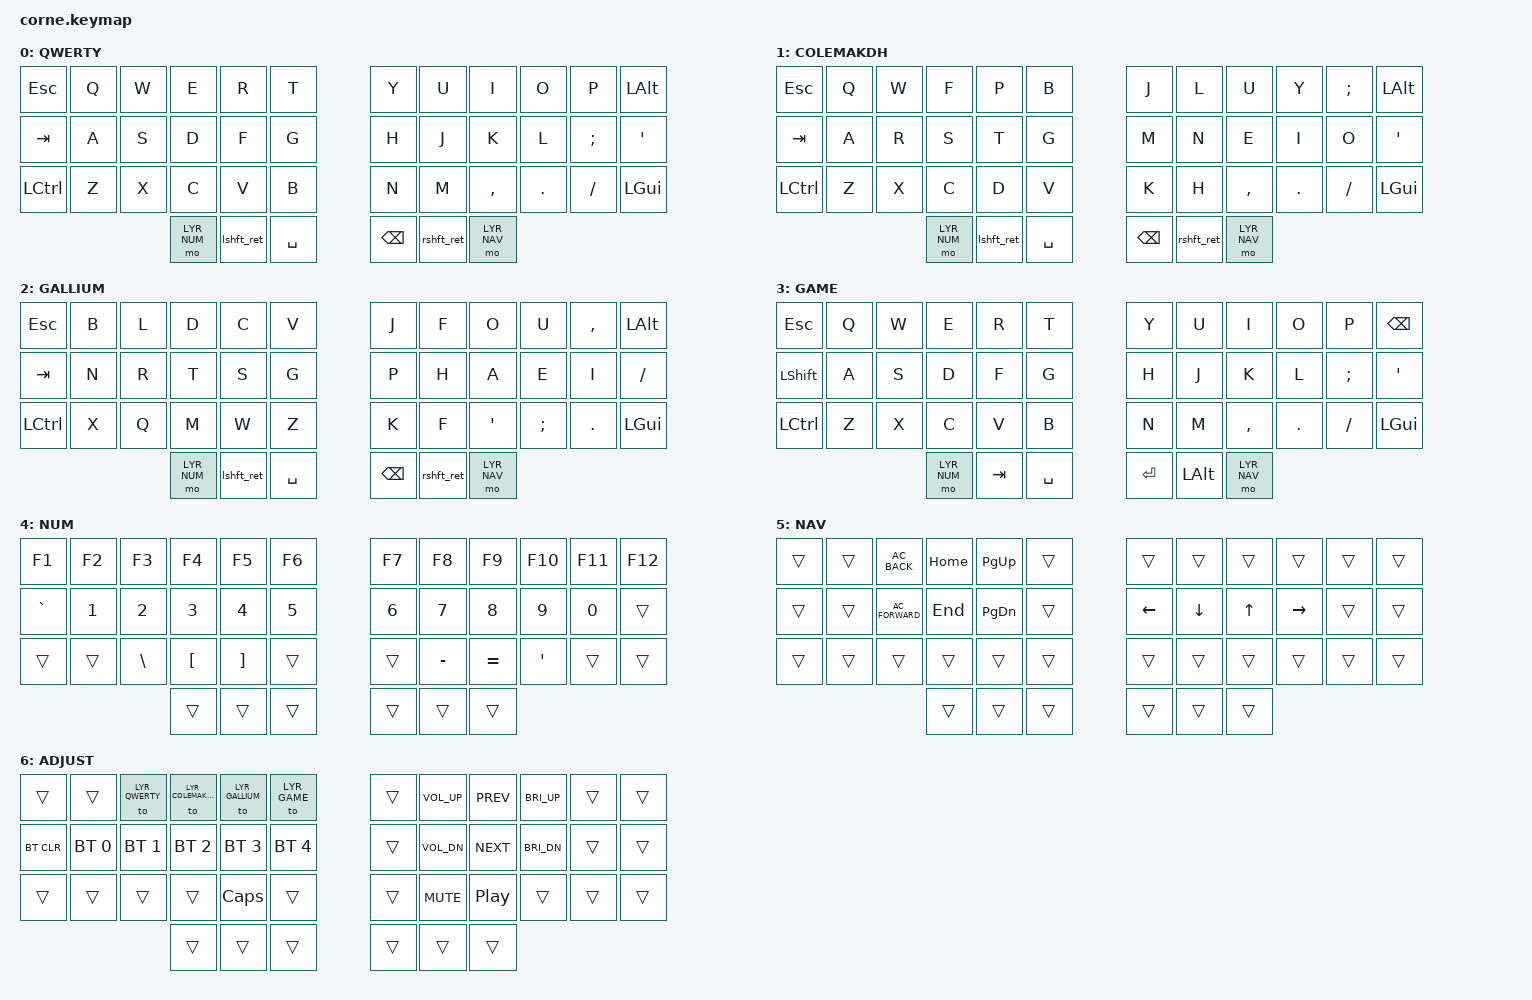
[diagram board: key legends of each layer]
/*
 * Copyright (c) 2020 The ZMK Contributors
 *
 * SPDX-License-Identifier: MIT
 */

#include <behaviors.dtsi>
#include <dt-bindings/zmk/keys.h>
#include <dt-bindings/zmk/bt.h>

#define LYR_QWERTY 0
#define LYR_COLEMAKDH 1
#define LYR_GALLIUM 2
#define LYR_GAME 3
#define LYR_NUM 4
#define LYR_NAV 5
#define LYR_ADJ 6

/ {
        keymap {
                compatible = "zmk,keymap";

                qwerty_layer {
                        label = "QWERTY";
// -----------------------------------------------------------------------------------------
// | ESC  |  Q  |  W  |  E  |  R  |  T  |     |  Y  |  U  |  I  |  O  |  P  | ALT |
// | TAB  |  A  |  S  |  D  |  F  |  G  |     |  H  |  J  |  K  |  L  |  ;  |  '  |
// | CTRL |  Z  |  X  |  C  |  V  |  B  |     |  N  |  M  |  ,  |  .  |  /  | GUI |
//                   | NUM | SHFT | SPC |     | BSPC | SHFT | NAV |
//                       \     \----------RET-----------/     /
//                        \---------------ADJ----------------/
                        bindings = <
   &kp ESC   &kp Q &kp W &kp E &kp R &kp T    &kp Y &kp U  &kp I     &kp O   &kp P    &kp LALT
   &kp TAB   &kp A &kp S &kp D &kp F &kp G    &kp H &kp J  &kp K     &kp L   &kp SEMI &kp SQT
   &kp LCTRL &kp Z &kp X &kp C &kp V &kp B    &kp N &kp M  &kp COMMA &kp DOT &kp FSLH &kp LGUI
          &mo LYR_NUM &lshft_ret &kp SPACE    &kp BSPC &rshft_ret &mo LYR_NAV
                        >;
                };

                colemakdh_layer {
                        label = "COLEMAKDH";
// -----------------------------------------------------------------------------------------
// | ESC  |  Q  |  W  |  F  |  P  |  B  |     |  J  |  L  |  U  |  Y  |  ;  | ALT |
// | TAB  |  A  |  R  |  S  |  T  |  G  |     |  M  |  N  |  E  |  I  |  O  |  '  |
// | CTRL |  Z  |  X  |  C  |  D  |  V  |     |  K  |  H  |  ,  |  .  |  /  | GUI |
//                   | NUM | SHFT | SPC |     | BSPC | SHFT | NAV |
//                       \     \----------RET-----------/     /
//                        \---------------ADJ----------------/
                        bindings = <
   &kp ESC   &kp Q &kp W &kp F &kp P &kp B    &kp J &kp L  &kp U     &kp Y   &kp SEMI &kp LALT
   &kp TAB   &kp A &kp R &kp S &kp T &kp G    &kp M &kp N  &kp E     &kp I   &kp O    &kp SQT
   &kp LCTRL &kp Z &kp X &kp C &kp D &kp V    &kp K &kp H  &kp COMMA &kp DOT &kp FSLH &kp LGUI
          &mo LYR_NUM &lshft_ret &kp SPACE    &kp BSPC &rshft_ret &mo LYR_NAV
                        >;
                };

                gallium_layer {
                        label = "GALLIUM";
// -----------------------------------------------------------------------------------------
// | ESC  |  B  |  L  |  D  |  C  |  V  |     |  J  |  F  |  O  |  U  |  ,  | ALT |
// | TAB  |  N  |  R  |  T  |  S  |  G  |     |  P  |  H  |  A  |  E  |  I  |  /  |
// | CTRL |  X  |  Q  |  M  |  W  |  Z  |     |  K  |  F  |  '  |  ;  |  .  | GUI |
//                   | NUM | SHFT | SPC |     | BSPC | SHFT | NAV |
//                       \     \----------RET-----------/     /
//                        \---------------ADJ----------------/
                        bindings = <
   &kp ESC   &kp B &kp L &kp D &kp C &kp V    &kp J &kp F  &kp O   &kp U    &kp COMMA &kp LALT
   &kp TAB   &kp N &kp R &kp T &kp S &kp G    &kp P &kp H  &kp A   &kp E    &kp I     &kp FSLH
   &kp LCTRL &kp X &kp Q &kp M &kp W &kp Z    &kp K &kp F  &kp SQT &kp SEMI &kp DOT   &kp LGUI
          &mo LYR_NUM &lshft_ret &kp SPACE    &kp BSPC &rshft_ret &mo LYR_NAV
                        >;
                };

                game_layer {
                        label = "GAME";
// -----------------------------------------------------------------------------------------
// | ESC  |  Q  |  W  |  E  |  R  |  T  |     |  Y  |  U  |  I  |  O  |  P  | BSPC |
// | SHFT |  A  |  S  |  D  |  F  |  G  |     |  H  |  J  |  K  |  L  |  ;  |  '   |
// | CTRL |  Z  |  X  |  C  |  V  |  B  |     |  N  |  M  |  ,  |  .  |  /  | GUI  |
//                    | NUM | TAB | SPC |     | RET | ALT | NAV |
//                        \---------------ADJ---------------/
                        bindings = <
   &kp ESC   &kp Q &kp W &kp E &kp R &kp T    &kp Y &kp U  &kp I     &kp O   &kp P    &kp BSPC
   &kp LSHFT &kp A &kp S &kp D &kp F &kp G    &kp H &kp J  &kp K     &kp L   &kp SEMI &kp SQT
   &kp LCTRL &kp Z &kp X &kp C &kp V &kp B    &kp N &kp M  &kp COMMA &kp DOT &kp FSLH &kp LGUI
             &mo LYR_NUM &kp TAB &kp SPACE    &kp RET &kp LALT &mo LYR_NAV
                        >;
                };

                number_layer {
                        label = "NUM";
// -----------------------------------------------------------------------------------------
// | F1  | F2  | F3  | F4  | F5  | F6  |     | F7  | F8  | F9  | F10 | F11 | F12 |
// |  `  |  1  |  2  |  3  |  4  |  5  |     |  6  |  7  |  8  |  9  |  0  |     |
// |     |     |  \  |  [  |  ]  |     |     |     |  -  |  =  |  '  |     |     |
//                   |     |     |     |     |     |     |     |
                        bindings = <
   &kp F1     &kp F2 &kp F3   &kp F4   &kp F5   &kp F6     &kp F7  &kp F8    &kp F9    &kp F10 &kp F11  &kp F12
   &kp GRAVE  &kp N1 &kp N2   &kp N3   &kp N4   &kp N5     &kp N6  &kp N7    &kp N8    &kp N9  &kp N0   &trans
   &trans     &trans &kp BSLH &kp LBKT &kp RBKT &trans     &trans  &kp MINUS &kp EQUAL &kp SQT &trans   &trans
                                &trans  &trans  &trans     &trans  &trans    &trans
                        >;
                };

                nav_layer {
                        label = "NAV";
// -----------------------------------------------------------------------------------------
// |    |    | BACK | HOME | PGUP |    |     |    |    |    |    |    |    |
// |    |    | FWD  | END  | PGDN |    |     | LT | DN | UP | RT |    |    |
// |    |    |      |      |      |    |     |    |    |    |    |    |    |
//                  |      |      |    |     |    |    |    |
                        bindings = <
   &trans  &trans  &kp C_AC_BACK    &kp HOME &kp PG_UP &trans      &trans   &trans   &trans &trans    &trans  &trans
   &trans  &trans  &kp C_AC_FORWARD &kp END  &kp PG_DN &trans      &kp LEFT &kp DOWN &kp UP &kp RIGHT &trans  &trans
   &trans  &trans  &trans           &trans   &trans    &trans      &trans   &trans   &trans &trans    &trans  &trans
                    	            &trans   &trans    &trans      &trans   &trans   &trans
                        >;
                };

                adjust_layer {
                        label = "ADJUST";
// -----------------------------------------------------------------------------------------
// |       |     | QWERTY | COLEMAKDH | GALLIUM | GAME |     |    | VL_UP | PREV | BR_UP |    |    |
// | BTCLR | BT1 |  BT2   |    BT3    |   BT4   | BT5  |     |    | VL_DN | NEXT | BR_DN |    |    |
// |       |     |        |           |  CAPS   |      |     |    | MUTE  | P/P  |       |    |    |
//                        |           |         |      |     |    |       |      |
                        bindings = <
   &trans     &trans       &to LYR_QWERTY &to LYR_COLEMAKDH &to LYR_GALLIUM &to LYR_GAME   &trans  &kp C_VOL_UP &kp C_PREV &kp C_BRI_UP &trans  &trans
   &bt BT_CLR &bt BT_SEL 0 &bt BT_SEL 1   &bt BT_SEL 2      &bt BT_SEL 3    &bt BT_SEL 4   &trans  &kp C_VOL_DN &kp C_NEXT &kp C_BRI_DN &trans  &trans
   &trans     &trans       &trans         &trans            &kp CAPS        &trans         &trans  &kp C_MUTE   &kp C_PP   &trans       &trans  &trans
                                          &trans            &trans          &trans         &trans  &trans       &trans
                        >;
                };

        };
};

/ {
    conditional_layers {
        compatible = "zmk,conditional-layers";
        tri_layer {
            if-layers = <LYR_NUM LYR_NAV>;
            then-layer = <LYR_ADJ>;
        };
    };

    behaviors {
        lshft_ret: dbl_shft_ret_l {
            compatible = "zmk,behavior-mod-morph";
            #binding-cells = <0>;
            bindings = <&kp LSHFT>, <&kp RET>;
            mods = <(MOD_RSFT)>;
        };

        rshft_ret: dbl_shft_ret_r {
            compatible = "zmk,behavior-mod-morph";
            #binding-cells = <0>;
            bindings = <&kp RSHFT>, <&kp RET>;
            mods = <(MOD_LSFT)>;
        };
    };
};
